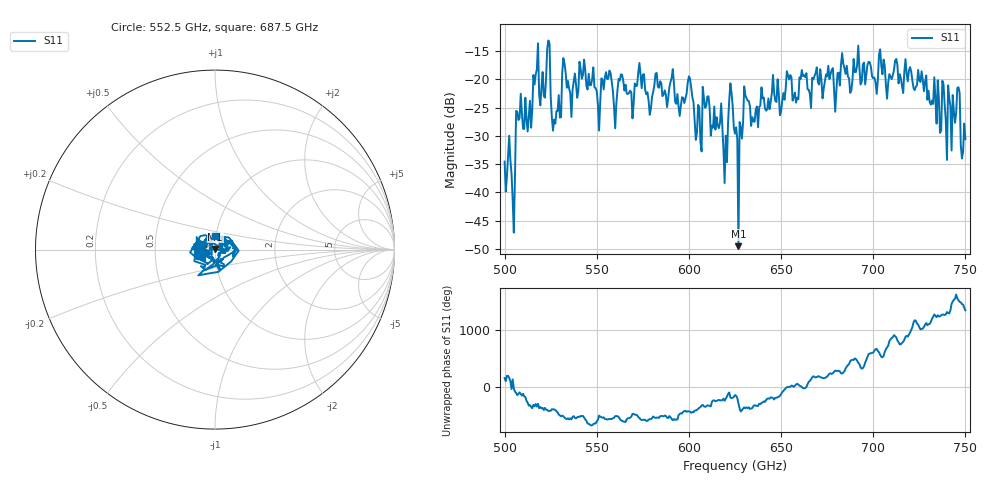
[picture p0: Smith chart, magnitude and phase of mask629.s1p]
!Created with skrf (http://scikit-rf.org).
# GHz S MA R 50.0
!freq magS11 angS11
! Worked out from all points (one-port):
!   401 points, 500 GHz to 750 GHz, reference 50 ohm
!   lowest |S11| = -49.5 dB at 626.9 GHz (marker M1), VSWR 1.01, Z = 50.1 + j0.321 ohm
!   |S11| at or under -10 dB: start of sweep to end of sweep
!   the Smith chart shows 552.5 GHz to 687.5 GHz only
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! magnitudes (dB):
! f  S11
! 500 GHz  -34.6
! 504.4 GHz  -41.3
! 507.5 GHz  -27.2
! 513.8 GHz  -23.8
! 516.9 GHz  -19.1
! 520.6 GHz  -18.7
! 523.8 GHz  -13.1
! 526.9 GHz  -27.1
! 531.2 GHz  -18.9
! 556.2 GHz  -19.9
! 560 GHz  -28.7
! 562.5 GHz  -20.2
! 593.8 GHz  -22.6
! 600.6 GHz  -19.9
! 605.6 GHz  -24.9
! 608.8 GHz  -25.0
! 619.4 GHz  -38.4
! 622.5 GHz  -20.7
! 625 GHz  -29.6
! 626.9 GHz  -49.5
! 631.2 GHz  -23.3
! 635 GHz  -27.4
! 656.2 GHz  -23.8
! 687.5 GHz  -22.4
! 718.8 GHz  -20.4
! 741.2 GHz  -23.3
! 745.6 GHz  -21.5
! 750 GHz  -30.6
